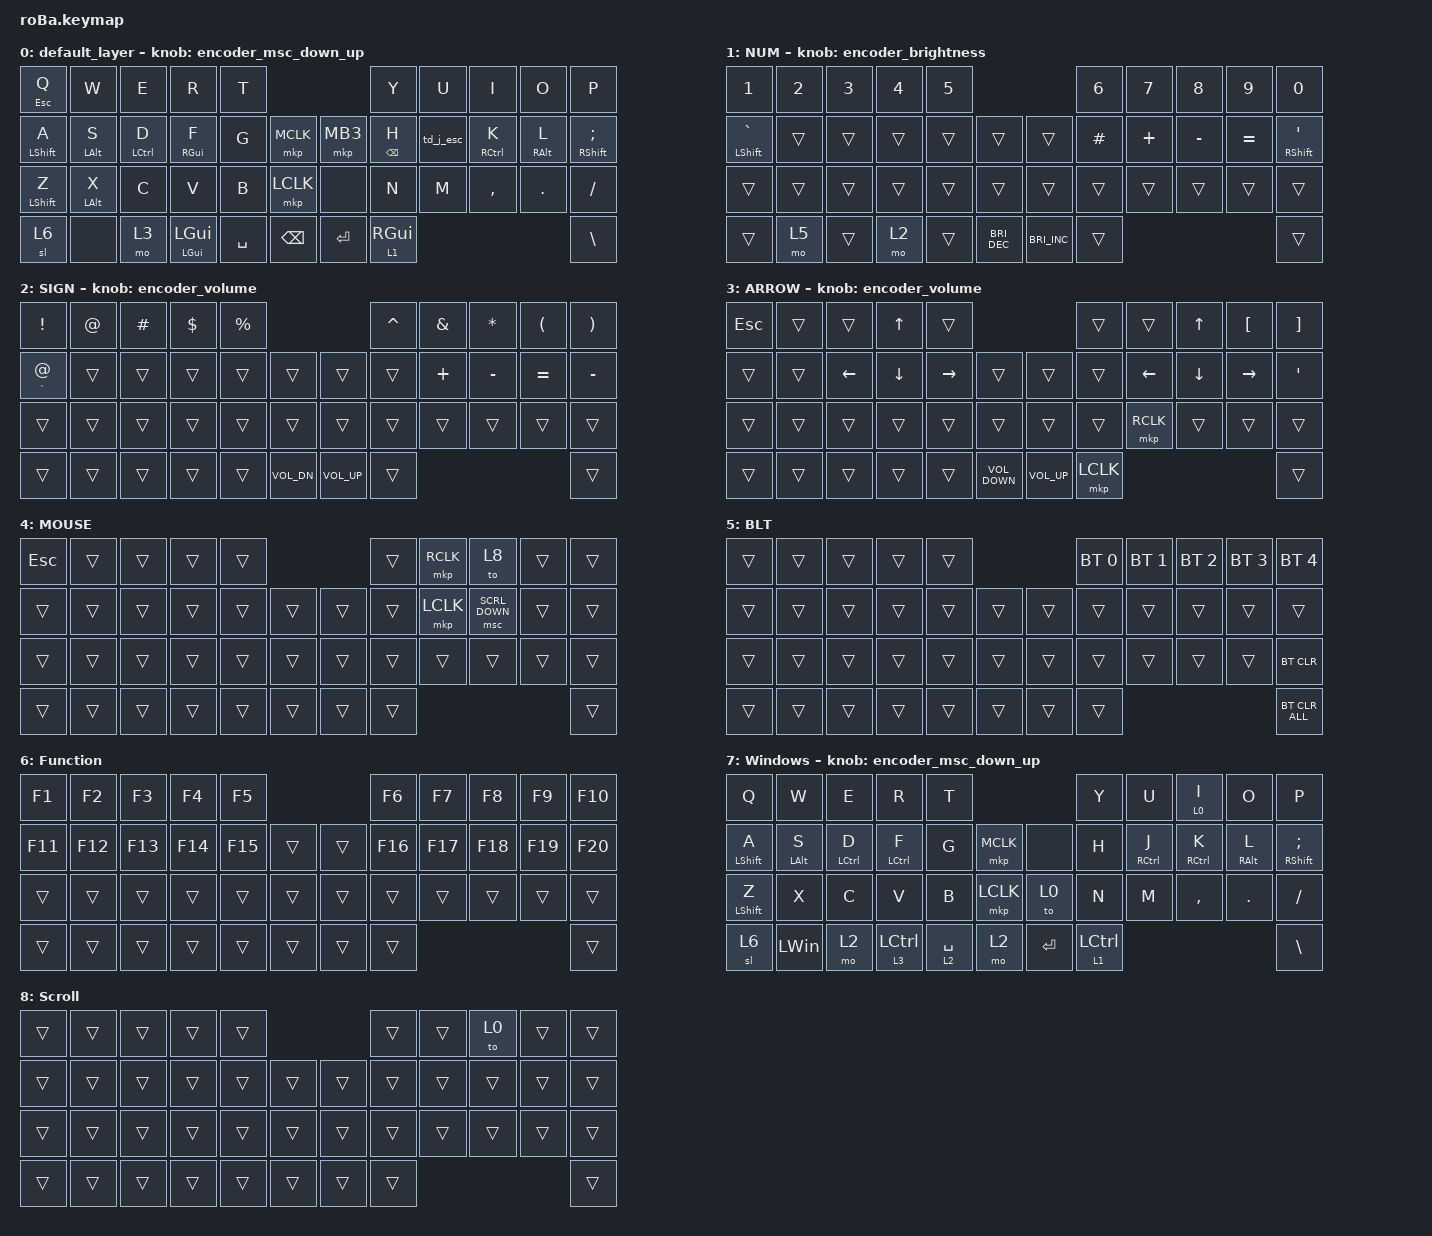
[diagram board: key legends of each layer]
#include <behaviors.dtsi>
#include <dt-bindings/zmk/bt.h>
#include <dt-bindings/zmk/keys.h>
#include <dt-bindings/zmk/pointing.h>

#define ZMK_POINTING_DEFAULT_SCRL_VAL 160

&mt {
    flavor = "tap-preferred";
    quick-tap-ms = <175>;
    require-prior-idle-ms = <135>;
    tapping-term-ms = <200>;
};

&trackball {
    automouse-layer = <4>;
    scroll-layers = <8>;

    // arrows {
    //     layers = <3>;
    //     bindings =
    //         <&kp RIGHT_ARROW>,
    //         <&kp LEFT_ARROW>,
    //         <&kp UP_ARROW>,
    //         <&kp DOWN_ARROW>;
    //     tick = <10>;
    //     wait-ms = <5>;
    //     tap-ms = <5>;
    // };
};

/ {
    combos {
        compatible = "zmk,combos";

        tab {
            bindings = <&kp TAB>;
            key-positions = <12 11>;
            require-prior-idle-ms = <200>;
        };

        shift_tab {
            bindings = <&kp LS(TAB)>;
            key-positions = <12 13>;
            require-prior-idle-ms = <200>;
        };

        single_quote {
            bindings = <&kp SINGLE_QUOTE>;
            key-positions = <19 20>;
            require-prior-idle-ms = <200>;
        };

        backspace {
            bindings = <&kp BACKSPACE>;
            key-positions = <8 9>;
            require-prior-idle-ms = <200>;
        };

        esc {
            bindings = <&kp ESCAPE>;
            key-positions = <0 1>;
            require-prior-idle-ms = <200>;
        };

        sign_layer {
            bindings = <&mo 2>;
            key-positions = <37 41>;
            require-prior-idle-ms = <200>;
        };

        space {
            bindings = <&kp SPACE>;
            key-positions = <39 38>;
            require-prior-idle-ms = <200>;
        };

        ctrl_space {
            bindings = <&kp LC(SPACE)>;
            key-positions = <10 38>;
            require-prior-idle-ms = <200>;
        };

        enter {
            bindings = <&kp ENTER>;
            key-positions = <41 40>;
        };

        backspace_quick {
            bindings = <&kp BACKSPACE>;
            key-positions = <17 12>;
        };

        capslock {
            bindings = <&kp CAPSLOCK>;
            key-positions = <10 21>;
        };
    };

    macros {
        to_layer_0: to_layer_0 {
            compatible = "zmk,behavior-macro-one-param";
            #binding-cells = <1>;
            bindings = <&to 0 &macro_param_1to1 &kp MACRO_PLACEHOLDER>;
            label = "TO_LAYER_0";
        };
    };

    behaviors {
        lt_to_layer_0: lt_to_layer_0 {
            compatible = "zmk,behavior-hold-tap";
            label = "LAYER_TAP_TO_0";
            bindings = <&mo>, <&to_layer_0>;

            #binding-cells = <2>;
            tapping-term-ms = <200>;
        };

        encoder_msc_down_up: encoder_msc_down_up {
            compatible = "zmk,behavior-sensor-rotate";
            label = "ENCODER_MSC_DOWN_UP";
            #sensor-binding-cells = <0>;
            bindings = <&msc SCRL_DOWN>, <&msc SCRL_UP>;

            tap-ms = <20>;
        };

        encoder_brightness: encoder_brightness {
            compatible = "zmk,behavior-sensor-rotate";
            label = "ENCODER_BRIGHTNESS";
            #sensor-binding-cells = <0>;
            bindings = <&kp C_BRIGHTNESS_DEC>, <&kp C_BRIGHTNESS_INC>;

            tap-ms = <20>;
        };

        encoder_volume: encoder_volume {
            compatible = "zmk,behavior-sensor-rotate";
            label = "ENCODER_VOLUME";
            #sensor-binding-cells = <0>;
            bindings = <&kp C_VOL_DN>, <&kp C_VOL_UP>;

            tap-ms = <20>;
        };

        lt_space: lt_space {
            compatible = "zmk,behavior-hold-tap";
            label = "LT_SPACE";
            #binding-cells = <2>;
            tapping-term-ms = <200>;
            quick-tap-ms = <250>;
            flavor = "tap-preferred";
            bindings = <&mo>, <&kp>;
        };

        td_j_esc: td_j_esc {
            compatible = "zmk,behavior-tap-dance";
            label = "TD_J_ESC";
            #binding-cells = <0>;
            tapping-term-ms = <200>;
            bindings = <&kp J>, <&kp ESCAPE>;
        };

        mt_st: mt_st {
            compatible = "zmk,behavior-hold-tap";
            label = "MT_ST";
            #binding-cells = <2>;
            flavor = "balanced";
            tapping-term-ms = <160>;
            bindings = <&sk>, <&kp>;

            require-prior-idle-ms = <200>;
        };

        mt_shift: mt_shift {
            compatible = "zmk,behavior-hold-tap";
            label = "MT_SHIFT";
            #binding-cells = <2>;
            flavor = "tap-preferred";
            tapping-term-ms = <150>;
            bindings = <&kp>, <&kp>;

            require-prior-idle-ms = <135>;
            quick-tap-ms = <175>;
        };

        mt_cmd: mt_cmd {
            compatible = "zmk,behavior-hold-tap";
            label = "MT_CMD";
            #binding-cells = <2>;
            flavor = "tap-preferred";
            tapping-term-ms = <160>;
            bindings = <&kp>, <&kp>;

            require-prior-idle-ms = <135>;
            quick-tap-ms = <175>;
        };

        gqt: global-quick-tap {
            compatible = "zmk,behavior-hold-tap";
            label = "GLOBAL_QUICK_TAP";
            bindings = <&kp>, <&kp>;

            #binding-cells = <2>;
            tapping-term-ms = <175>;
            quick-tap-ms = <175>;
            flavor = "tap-preferred";
            require-prior-idle-ms = <135>;
        };
    };

    keymap {
        compatible = "zmk,keymap";

        default_layer {
            bindings = <
&mt ESCAPE Q            &kp W            &kp E         &kp R                  &kp T                                    &kp Y             &kp U      &kp I                 &kp O             &kp P
&gqt LSHIFT A           &gqt LEFT_ALT S  &gqt LCTRL D  &gqt RIGHT_GUI F       &kp G      &mkp MCLK          &mkp MB3   &gqt BACKSPACE H  &td_j_esc  &gqt RIGHT_CONTROL K  &gqt RIGHT_ALT L  &gqt RSHIFT SEMICOLON
&mt_shift LEFT_SHIFT Z  &gqt LEFT_ALT X  &kp C         &kp V                  &kp B      &mkp LCLK          &none      &kp N             &kp M      &kp COMMA             &kp DOT           &kp SLASH
&sl 6                   &none            &mo 3         &mt_cmd LEFT_GUI LGUI  &kp SPACE  &kp BACKSPACE      &kp ENTER  &lt 1 RIGHT_GUI                                                      &kp BACKSLASH
            >;

            sensor-bindings = <&encoder_msc_down_up>;
        };

        NUM {
            bindings = <
&kp NUMBER_1          &kp NUMBER_2  &kp NUMBER_3  &kp NUMBER_4  &kp NUMBER_5                                                  &kp NUMBER_6  &kp NUMBER_7  &kp NUMBER_8  &kp NUMBER_9  &kp NUMBER_0
&mt LEFT_SHIFT GRAVE  &trans        &trans        &trans        &trans        &trans                    &trans                &kp HASH      &kp PLUS      &kp MINUS     &kp EQUAL     &mt RIGHT_SHIFT SINGLE_QUOTE
&trans                &trans        &trans        &trans        &trans        &trans                    &trans                &trans        &trans        &trans        &trans        &trans
&trans                &mo 5         &trans        &mo 2         &trans        &kp C_BRIGHTNESS_DEC      &kp C_BRIGHTNESS_INC  &trans                                                  &trans
            >;

            sensor-bindings = <&encoder_brightness>;
        };

        SIGN {
            bindings = <
&kp EXCLAMATION    &kp AT_SIGN  &kp POUND  &kp DOLLAR  &kp PERCENT                                  &kp CARET  &kp AMPERSAND  &kp ASTERISK  &kp LEFT_PARENTHESIS  &kp RIGHT_PARENTHESIS
&mt GRAVE AT_SIGN  &trans       &trans     &trans      &trans       &trans            &trans        &trans     &kp PLUS       &kp MINUS     &kp EQUAL             &kp MINUS
&trans             &trans       &trans     &trans      &trans       &trans            &trans        &trans     &trans         &trans        &trans                &trans
&trans             &trans       &trans     &trans      &trans       &kp C_VOL_DN      &kp C_VOL_UP  &trans                                                        &trans
            >;

            sensor-bindings = <&encoder_volume>;
        };

        ARROW {
            bindings = <
&kp ESCAPE  &trans  &trans          &kp UP_ARROW    &trans                                                   &trans     &trans          &kp UP_ARROW    &kp LEFT_BRACKET  &kp RIGHT_BRACKET
&trans      &trans  &kp LEFT_ARROW  &kp DOWN_ARROW  &kp RIGHT_ARROW  &trans                 &trans           &trans     &kp LEFT_ARROW  &kp DOWN_ARROW  &kp RIGHT_ARROW   &kp SINGLE_QUOTE
&trans      &trans  &trans          &trans          &trans           &trans                 &trans           &trans     &mkp RCLK       &trans          &trans            &trans
&trans      &trans  &trans          &trans          &trans           &kp C_VOLUME_DOWN      &kp C_VOLUME_UP  &mkp LCLK                                                    &trans
            >;

            sensor-bindings = <&encoder_volume>;
        };

        MOUSE {
            bindings = <
&kp ESCAPE  &trans  &trans  &trans  &trans                      &trans  &mkp RCLK  &to 8           &trans  &trans
&trans      &trans  &trans  &trans  &trans  &trans      &trans  &trans  &mkp LCLK  &msc SCRL_DOWN  &trans  &trans
&trans      &trans  &trans  &trans  &trans  &trans      &trans  &trans  &trans     &trans          &trans  &trans
&trans      &trans  &trans  &trans  &trans  &trans      &trans  &trans                                     &trans
            >;
        };

        BLT {
            bindings = <
&trans  &trans  &trans  &trans  &trans                      &bt BT_SEL 0  &bt BT_SEL 1  &bt BT_SEL 2  &bt BT_SEL 3  &bt BT_SEL 4
&trans  &trans  &trans  &trans  &trans  &trans      &trans  &trans        &trans        &trans        &trans        &trans
&trans  &trans  &trans  &trans  &trans  &trans      &trans  &trans        &trans        &trans        &trans        &bt BT_CLR
&trans  &trans  &trans  &trans  &trans  &trans      &trans  &trans                                                  &bt BT_CLR_ALL
            >;
        };

        Function {
            bindings = <
&kp F1   &kp F2   &kp F3   &kp F4   &kp F5                       &kp F6   &kp F7   &kp F8   &kp F9   &kp F10
&kp F11  &kp F12  &kp F13  &kp F14  &kp F15  &trans      &trans  &kp F16  &kp F17  &kp F18  &kp F19  &kp F20
&trans   &trans   &trans   &trans   &trans   &trans      &trans  &trans   &trans   &trans   &trans   &trans
&trans   &trans   &trans   &trans   &trans   &trans      &trans  &trans                              &trans
            >;
        };

        Windows {
            bindings = <
&kp Q                   &kp W           &kp E        &kp R               &kp T                                        &kp Y               &kp U                &lt 0 I              &kp O            &kp P
&mt LEFT_SHIFT A        &mt LEFT_ALT S  &mt LCTRL D  &mt LEFT_CONTROL F  &kp G              &mkp MCLK      &none      &kp H               &mt RIGHT_CONTROL J  &mt RIGHT_CONTROL K  &mt RIGHT_ALT L  &mt RIGHT_SHIFT SEMICOLON
&mt_shift LEFT_SHIFT Z  &kp X           &kp C        &kp V               &kp B              &mkp LCLK      &to 0      &kp N               &kp M                &kp COMMA            &kp DOT          &kp SLASH
&sl 6                   &kp LEFT_WIN    &mo 2        &lt 3 LEFT_CONTROL  &lt_space 2 SPACE  &mo 2          &kp ENTER  &lt 1 LEFT_CONTROL                                                             &kp BACKSLASH
            >;

            sensor-bindings = <&encoder_msc_down_up>;
        };

        Scroll {
            bindings = <
&trans  &trans  &trans  &trans  &trans                      &trans  &trans  &to 0   &trans  &trans
&trans  &trans  &trans  &trans  &trans  &trans      &trans  &trans  &trans  &trans  &trans  &trans
&trans  &trans  &trans  &trans  &trans  &trans      &trans  &trans  &trans  &trans  &trans  &trans
&trans  &trans  &trans  &trans  &trans  &trans      &trans  &trans                          &trans
            >;
        };
    };
};
